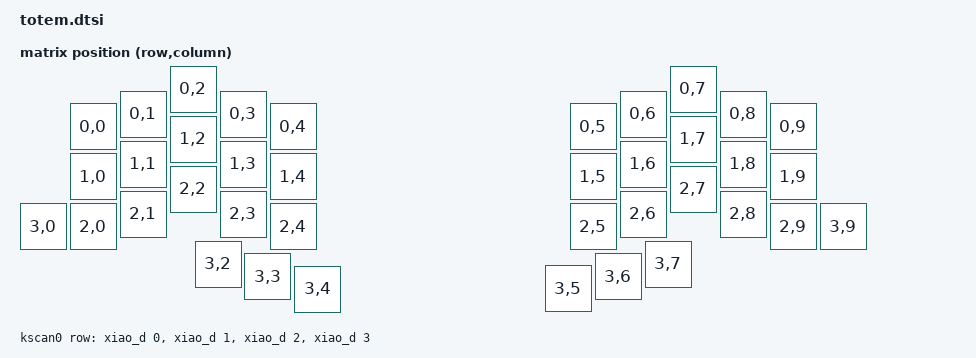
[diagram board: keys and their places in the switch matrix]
#include <dt-bindings/zmk/matrix_transform.h>
#include <physical_layouts.dtsi>

/ {
    chosen {
        zmk,kscan = &kscan0;
        zmk,physical-layout = &totem_physical_layout;
    };

    totem_physical_layout: totem_physical_layout {
        compatible = "zmk,physical-layout";
        display-name = "TOTEM";
        transform = <&default_transform>;
        kscan = <&kscan0>;

        keys  //                     w   h    x    y     rot    rx    ry
            = <&key_physical_attrs 100 100  100  125       0     0     0>
            , <&key_physical_attrs 100 100  200  100       0     0     0>
            , <&key_physical_attrs 100 100  300   50       0     0     0>
            , <&key_physical_attrs 100 100  400  100       0     0     0>
            , <&key_physical_attrs 100 100  500  125       0     0     0>
            , <&key_physical_attrs 100 100 1100  125       0     0     0>
            , <&key_physical_attrs 100 100 1200  100       0     0     0>
            , <&key_physical_attrs 100 100 1300   50       0     0     0>
            , <&key_physical_attrs 100 100 1400  100       0     0     0>
            , <&key_physical_attrs 100 100 1500  125       0     0     0>

            , <&key_physical_attrs 100 100  100  225       0     0     0>
            , <&key_physical_attrs 100 100  200  200       0     0     0>
            , <&key_physical_attrs 100 100  300  150       0     0     0>
            , <&key_physical_attrs 100 100  400  200       0     0     0>
            , <&key_physical_attrs 100 100  500  225       0     0     0>
            , <&key_physical_attrs 100 100 1100  225       0     0     0>
            , <&key_physical_attrs 100 100 1200  200       0     0     0>
            , <&key_physical_attrs 100 100 1300  150       0     0     0>
            , <&key_physical_attrs 100 100 1400  200       0     0     0>
            , <&key_physical_attrs 100 100 1500  225       0     0     0>

            , <&key_physical_attrs 100 100    0  325       0     0     0>
            , <&key_physical_attrs 100 100  100  325       0     0     0>
            , <&key_physical_attrs 100 100  200  300       0     0     0>
            , <&key_physical_attrs 100 100  300  250       0     0     0>
            , <&key_physical_attrs 100 100  400  300       0     0     0>
            , <&key_physical_attrs 100 100  500  325       0     0     0>
            , <&key_physical_attrs 100 100 1100  325       0     0     0>
            , <&key_physical_attrs 100 100 1200  300       0     0     0>
            , <&key_physical_attrs 100 100 1300  250       0     0     0>
            , <&key_physical_attrs 100 100 1400  300       0     0     0>
            , <&key_physical_attrs 100 100 1500  325       0     0     0>
            , <&key_physical_attrs 100 100 1600  325       0     0     0>

            , <&key_physical_attrs 100 100  350  400       0     0     0>
            , <&key_physical_attrs 100 100  450  425      15   450   425>
            , <&key_physical_attrs 100 100  550  450      30   550   450>
            , <&key_physical_attrs 100 100 1050  450     -30  1050   450>
            , <&key_physical_attrs 100 100 1150  425     -15  1150   425>
            , <&key_physical_attrs 100 100 1250  400       0     0     0>
            ;
    };

    default_transform: keymap_transform_0 {
        compatible = "zmk,matrix-transform";
        columns = <10>;
        rows = <4>;
        map = <
                RC(0,0) RC(0,1) RC(0,2) RC(0,3) RC(0,4)    RC(0,5) RC(0,6) RC(0,7) RC(0,8) RC(0,9)
                RC(1,0) RC(1,1) RC(1,2) RC(1,3) RC(1,4)    RC(1,5) RC(1,6) RC(1,7) RC(1,8) RC(1,9)
        RC(3,0) RC(2,0) RC(2,1) RC(2,2) RC(2,3) RC(2,4)    RC(2,5) RC(2,6) RC(2,7) RC(2,8) RC(2,9) RC(3,9)
                                RC(3,2) RC(3,3) RC(3,4)    RC(3,5) RC(3,6) RC(3,7)
        >;
    };

    kscan0: kscan {
        compatible = "zmk,kscan-gpio-matrix";
        wakeup-source;
        diode-direction = "col2row";
        row-gpios
            = <&xiao_d 0 (GPIO_ACTIVE_HIGH | GPIO_PULL_DOWN)>
            , <&xiao_d 1 (GPIO_ACTIVE_HIGH | GPIO_PULL_DOWN)>
            , <&xiao_d 2 (GPIO_ACTIVE_HIGH | GPIO_PULL_DOWN)>
            , <&xiao_d 3 (GPIO_ACTIVE_HIGH | GPIO_PULL_DOWN)>
            ;
    };
};
